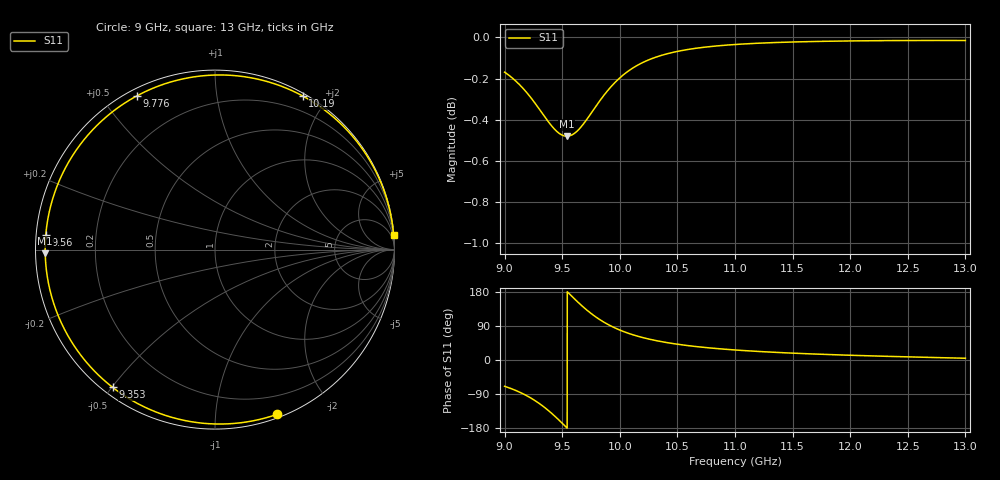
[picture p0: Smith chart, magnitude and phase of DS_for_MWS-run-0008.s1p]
! TOUCHSTONE file generated by CST DESIGN STUDIO
! Date and time: Tue Feb  4 13:52:47 2025
! Project name: C:\Work\MatlabApps\UnitCellOptimizationMatlab\CST\unitcell.cst
! Tree item: Tasks\Sweep1\SPara1\S-Parameters
! Header version: 2024
! Port assignment regex: !\s*Touchstone port\s*([0-9]+)\s*=\s*(CST MWS port|CST DES external port|CST DES block port)\s*(.+)\s* \(\"(.*)\"\)(\s*mode\s*([0-9]+))?.*
! Touchstone port assignment:
! Touchstone port 1 = CST DES external port 1 ("")
# GHz S MA R 50
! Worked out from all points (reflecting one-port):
!   4001 points, 9 GHz to 13 GHz, reference 50 ohm
!   lowest |S11| = -0.5 dB at 9.54 GHz (marker M1), VSWR 36.20, Z = 1.38 - j0.525 ohm
!   phase of S11 starts at -69 deg and turns -286 deg over the sweep
!   S11 on the Smith chart (normalised r, x): 9 GHz: 0.03, -1.44; 9.353 GHz: 0.03, -0.50; 9.56 GHz: 0.03, +0.04; 9.776 GHz: 0.03, +0.61; 10.19 GHz: 0.03, +1.72; 13 GHz: 1, +25
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9  0.9808 -69.4
9.1  0.9757 -80.8
9.209  0.9683 -97.1
9.285  0.9621 -111.4
9.353  0.9562 -126.6
9.423  0.9507 -144.7
9.463  0.9483 -155.9
9.5  0.9468 -166.8
9.54  0.9462 -178.8
9.56  0.9464 175.2
9.614  0.9481 159.1
9.674  0.9519 142.2
9.725  0.9562 129.0
9.776  0.9607 117.0
9.823  0.9649 107.2
9.875  0.9692 97.6
9.933  0.9735 88.2
10  0.9776 79.0
10.089  0.982 69.0
10.186  0.9857 60.2
10.329  0.9894 50.3
10.5  0.9922 41.6
10.721  0.9945 33.6
11  0.9961 26.4
11.5  0.9975 18.1
12  0.9981 12.5
12.5  0.9983 8.3
13  0.9983 4.6
